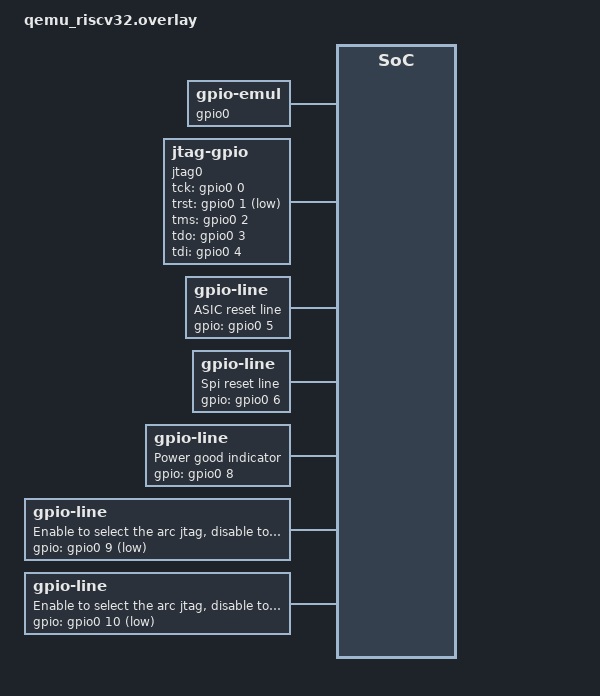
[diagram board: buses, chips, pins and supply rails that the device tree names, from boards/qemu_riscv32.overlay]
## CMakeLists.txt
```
# SPDX-License-Identifier: Apache-2.0

cmake_minimum_required(VERSION 3.20.0)
find_package(Zephyr REQUIRED HINTS $ENV{ZEPHYR_BASE})
project(bmc)

FILE(GLOB app_sources src/*.c)
target_sources(app PRIVATE ${app_sources})
```

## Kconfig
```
# Copyright (c) 2024 Tenstorrent AI ULC
# SPDX-License-Identifier: Apache-2.0

source "Kconfig.zephyr"

menu "Tenstorrent BMC Main App"

config TT_ASSEMBLY_TEST
	bool "Output additional debug if we are running in a test environment"
	default n

module = TT_MAIN
module-str = "Tenstorrent BMC main app"
source "${ZEPHYR_BASE}/subsys/logging/Kconfig.template.log_config"

endmenu
```

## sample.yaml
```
sample:
  name: JTAG
tests:
  sample.app:
    sysbuild: true
    platform_allow:
      - tt_blackhole@p100/tt_blackhole/bmc
      - tt_blackhole@p100a/tt_blackhole/bmc
      - tt_blackhole@p150a/tt_blackhole/bmc
      - p300/tt_blackhole/bmc
    tags: e2e
    harness: console
    harness_config:
      type: one_line
      regex:
        - "BMFW VERSION (.*)"
```

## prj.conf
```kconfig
CONFIG_JTAG=y
CONFIG_TT_BH_CHIP=y
CONFIG_TT_JTAG_BOOTROM=y
CONFIG_JTAG_LOAD_ON_PRESET=y
CONFIG_GPIO=y

CONFIG_COMMON_LIBC_MALLOC=n

# create build/zephyr/zephyr.lst
CONFIG_OUTPUT_DISASSEMBLY=y

CONFIG_I2C=y
CONFIG_SMBUS=y
CONFIG_TT_I2C_DRIVER=y
CONFIG_TT_SMBUS_DRIVER=y
CONFIG_TT_I2C_STM32_INTERRUPT=n
CONFIG_TT_I2C_STM32_BYTE_POLL=y
CONFIG_SMBUS_INIT_PRIORITY=60

CONFIG_JTAG_LOAD_BOOTROM=y

# For firmware udpates
CONFIG_TT_BIST=y
CONFIG_IMG_MANAGER=y
CONFIG_FLASH=y
CONFIG_FLASH_MAP=y
CONFIG_STREAM_FLASH=y
CONFIG_REBOOT=y

# We always expect MCUBoot to be the primary bootloader
CONFIG_BOOTLOADER_MCUBOOT=y
CONFIG_MCUBOOT_SIGNATURE_KEY_FILE="bootloader/mcuboot/root-rsa-2048.pem"

# Disable printing the default Zephyr boot banner
CONFIG_BOOT_BANNER=n
# Print the Tenstorrent boot banner + git version on startup
CONFIG_TT_BOOT_BANNER=y
CONFIG_TT_BOOT_BANNER_GIT_VERSION=y
CONFIG_TT_BOOT_BANNER_SDK_VERSION=y

# Raise RTT buffer size, so entire boot log is captured even if RTT isn't
# attached
CONFIG_SEGGER_RTT_BUFFER_SIZE_UP=2048

# k_event APIs
CONFIG_EVENTS=y
CONFIG_TT_EVENT=y
```

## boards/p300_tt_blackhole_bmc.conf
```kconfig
CONFIG_JTAG_USE_MMAPPED_IO=y

# Enable Clocks
CONFIG_CLOCK_CONTROL=y

# enable pin controller
CONFIG_PINCTRL=y

# enable external spi flash
CONFIG_SPI=y
CONFIG_SPI_STM32_INTERRUPT=y

# enable sensor
CONFIG_SENSOR=y

# enable fan control
CONFIG_TT_FAN_CTRL=y

# To debug firmware updates
#CONFIG_LOG=y
#CONFIG_LOG_PRINTK=y
#CONFIG_LOG_MODE_IMMEDIATE=y
#CONFIG_TT_APP_LOG_LEVEL_DBG=y
# Debug logging might consume more stack than usual
#CONFIG_MAIN_STACK_SIZE=10240
#CONFIG_SEGGER_RTT_BUFFER_SIZE_UP=4096
# Never block whey trying to write logs
#CONFIG_LOG_BACKEND_RTT_MODE_OVERWRITE=y
```

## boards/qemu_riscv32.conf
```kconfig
CONFIG_JTAG_DEVICE_VENDOR="Qemu"
CONFIG_JTAG_DEVICE_NAME="qemu-jtag"

CONFIG_PINCTRL=n
CONFIG_JTAG_USE_MMAPPED_IO=n
CONFIG_JTAG_VERIFY_WRITE=y
# CONFIG_JTAG_PROFILE_FUNCTIONS=n

CONFIG_LOG=y
CONFIG_LOG_MODE_MINIMAL=y

CONFIG_MAIN_STACK_SIZE=8192
CONFIG_SYSTEM_WORKQUEUE_STACK_SIZE=8192
```

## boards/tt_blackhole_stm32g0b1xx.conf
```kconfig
CONFIG_JTAG_DEVICE_VENDOR="ST Microelectronics"
CONFIG_JTAG_DEVICE_NAME="scrappy_g0x"
CONFIG_JTAG_USE_MMAPPED_IO=y

# Enable Clocks
CONFIG_CLOCK_CONTROL=y

# enable pin controller
CONFIG_PINCTRL=y

# enable external spi flash
CONFIG_SPI=y
CONFIG_SPI_STM32_INTERRUPT=y

# To debug firmware updates
#CONFIG_LOG=y
#CONFIG_LOG_PRINTK=y
#CONFIG_LOG_MODE_IMMEDIATE=y
#CONFIG_TT_FWUPDATE_LOG_LEVEL_DBG=y
#CONFIG_TT_MAIN_LOG_LEVEL_DBG=y
# Debug logging might consume more stack than usual
#CONFIG_MAIN_STACK_SIZE=10240
#CONFIG_SEGGER_RTT_BUFFER_SIZE_UP=4096
# Never block whey trying to write logs
#CONFIG_LOG_BACKEND_RTT_MODE_OVERWRITE=y
```

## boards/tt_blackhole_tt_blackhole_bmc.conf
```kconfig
CONFIG_JTAG_USE_MMAPPED_IO=y

# Enable Clocks
CONFIG_CLOCK_CONTROL=y

# enable pin controller
CONFIG_PINCTRL=y

# enable external spi flash
CONFIG_SPI=y
CONFIG_SPI_STM32_INTERRUPT=y

# enable crc
CONFIG_CRC=y

# To debug firmware updates
#CONFIG_LOG=y
#CONFIG_LOG_PRINTK=y
#CONFIG_LOG_MODE_IMMEDIATE=y
#CONFIG_TT_FWUPDATE_LOG_LEVEL_DBG=y
#CONFIG_TT_APP_LOG_LEVEL_DBG=y
# Debug logging might consume more stack than usual
#CONFIG_MAIN_STACK_SIZE=10240
#CONFIG_SEGGER_RTT_BUFFER_SIZE_UP=4096
# Never block whey trying to write logs
#CONFIG_LOG_BACKEND_RTT_MODE_OVERWRITE=y
```

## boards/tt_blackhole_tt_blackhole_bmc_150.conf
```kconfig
CONFIG_JTAG_DEVICE_VENDOR="Tenstorrent"
CONFIG_JTAG_DEVICE_NAME="Blackhole"
CONFIG_JTAG_USE_MMAPPED_IO=y

# enable console
CONFIG_CONSOLE=y
CONFIG_USE_SEGGER_RTT=y
CONFIG_RTT_CONSOLE=y

# Enable Clocks
CONFIG_CLOCK_CONTROL=y

# enable pin controller
CONFIG_PINCTRL=y

CONFIG_COMMON_LIBC_MALLOC=n
# stm32 spi driver requires semaphores / multithreading
CONFIG_MULTITHREADING=y

# create build/zephyr/zephyr.lst
CONFIG_OUTPUT_DISASSEMBLY=y

# enable external spi flash
CONFIG_SPI=y
CONFIG_SPI_STM32_INTERRUPT=y
CONFIG_FLASH=y

# For firmware udpates
CONFIG_TT_FWUPDATE=y
CONFIG_TT_BOOT_FS=y
CONFIG_CRC=y
CONFIG_IMG_MANAGER=y
CONFIG_FLASH_MAP=y
CONFIG_STREAM_FLASH=y
CONFIG_REBOOT=y

# To debug firmware updates
#CONFIG_LOG=y
#CONFIG_LOG_PRINTK=y
#CONFIG_LOG_MODE_IMMEDIATE=y
#CONFIG_TT_FWUPDATE_LOG_LEVEL_DBG=y
#CONFIG_TT_MAIN_LOG_LEVEL_DBG=y
# Debug logging might consume more stack than usual
#CONFIG_MAIN_STACK_SIZE=10240
# Never block whey trying to write logs
#CONFIG_LOG_BACKEND_RTT_MODE_OVERWRITE=y
# Optionally, turn off the RTT log backend and use the Shell log backend?
#CONFIG_LOG_BACKEND_RTT=n

# For interactive shell
#CONFIG_SHELL=y
#CONFIG_FLASH_SHELL=y
#CONFIG_MCUBOOT_SHELL=y
```

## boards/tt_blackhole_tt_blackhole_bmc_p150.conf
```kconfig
# Enable fan control
CONFIG_TT_FAN_CTRL=y
```

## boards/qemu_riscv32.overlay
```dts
/*
 * Copyright (c) 2024 Tenstorrent AI ULC
 *
 * SPDX-License-Identifier: Apache-2.0
 */

#include <zephyr/dt-bindings/gpio/gpio.h>

/ {
	gpio0: gpio-emul {
		status = "okay";
		compatible = "zephyr,gpio-emul";
		rising-edge;
		falling-edge;
		high-level;
		low-level;
		gpio-controller;
		#gpio-cells = <2>;
	};

	jtag0: jtag {
		compatible = "zephyr,jtag-gpio";
		status = "okay";
		tck-gpios = <&gpio0 0 GPIO_ACTIVE_HIGH>;
		trst-gpios = <&gpio0 1 GPIO_ACTIVE_LOW>;
		tms-gpios = <&gpio0 2 GPIO_ACTIVE_HIGH>;
		tdo-gpios = <&gpio0 3 GPIO_PULL_UP>;
		tdi-gpios = <&gpio0 4 GPIO_ACTIVE_HIGH>;
		port-write-cycles = <2>;
	};

	mcureset {
	       compatible = "zephyr,gpio-line";
	       label = "ASIC reset line";
	       gpios = <&gpio0 5 GPIO_PULL_DOWN>;
	};

	spireset {
	       compatible = "zephyr,gpio-line";
	       label = "Spi reset line";
	       gpios = <&gpio0 6 GPIO_PULL_DOWN>;
	};

	pgood {
	       compatible = "zephyr,gpio-line";
	       label = "Power good indicator";
	       gpios = <&gpio0 8 GPIO_PULL_DOWN>;
	};

	arc_rambus_jtag_mux_sel: arc_rambus_jtag_mux_enable {
	       label = "Enable to select the arc jtag, disable to select rambus";
	       compatible = "zephyr,gpio-line";
	       gpios = <&gpio0 9 GPIO_ACTIVE_LOW>;
	};

	arc_l2_jtag_mux_sel: arc_l2_jtag_mux_enable {
	       label = "Enable to select the arc jtag, disable to select l2cpu";
	       compatible = "zephyr,gpio-line";
	       gpios = <&gpio0 10 GPIO_ACTIVE_LOW>;
	};
};
```

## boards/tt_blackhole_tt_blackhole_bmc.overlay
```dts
/*
 * Copyright (c) 2024 Tenstorrent AI ULC
 *
 * SPDX-License-Identifier: Apache-2.0
 */

&jtag0 {
	status = "okay";
};
```

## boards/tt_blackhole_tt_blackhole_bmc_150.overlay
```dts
/*
 * Copyright (c) 2024 Tenstorrent AI ULC
 *
 * SPDX-License-Identifier: Apache-2.0
 */

/ {
	aliases {
#if 0
		/* potentially for later consideration */
		mcuboot-button0 = &button1;
		mcuboot-led0 = &blue_led;
#endif
	};

	jtag0 {
		compatible = "zephyr,jtag-gpio";
		status = "okay";
		tck-gpios = <&gpiob 10 GPIO_ACTIVE_HIGH>;
		tdi-gpios = <&gpiob 15 GPIO_ACTIVE_HIGH>;
		tdo-gpios = <&gpiob 1 GPIO_PULL_UP>;
		tms-gpios = <&gpiob 2 GPIO_ACTIVE_HIGH>;
		port-write-cycles = <2>;
	};

};

&spi1 {
	flash1: flash@0 {
		/* base properties */
		compatible = "micron,mt25qu512", "jedec,spi-nor";

		jedec-id = [20 bb 20];
	};
};

&flash0 {
	partitions {
		slot0_partition: partition@c000 {
			label = "image-0";
			reg = <0x0000c000 (DT_SIZE_K(230) + DT_SIZE_K(2))>;
		};

		slot1_partition: partition@46000 {
			label = "image-1";
			reg = <0x00046000 (DT_SIZE_K(230))>;
		};
	};
};
```

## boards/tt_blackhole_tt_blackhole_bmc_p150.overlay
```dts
/*
 * Copyright (c) 2024 Tenstorrent AI ULC
 *
 * SPDX-License-Identifier: Apache-2.0
 */

/ {
	jtag0 {
		compatible = "zephyr,jtag-gpio";
		status = "okay";
		tck-gpios = <&gpiob 10 GPIO_ACTIVE_HIGH>;
		tdi-gpios = <&gpiob 15 GPIO_ACTIVE_HIGH>;
		tdo-gpios = <&gpiob 1 GPIO_PULL_UP>;
		tms-gpios = <&gpiob 2 GPIO_ACTIVE_HIGH>;
		port-write-cycles = <2>;
	};
};

&spi1 {
	flash1: flash@0 {
		/* base properties */
		compatible = "micron,mt25qu512", "jedec,spi-nor";

		jedec-id = [20 bb 20];
	};
};

&flash0 {
	partitions {
		slot0_partition: partition@c000 {
			label = "image-0";
			reg = <0x0000c000 (DT_SIZE_K(230) + DT_SIZE_K(2))>;
		};

		slot1_partition: partition@46000 {
			label = "image-1";
			reg = <0x00046000 (DT_SIZE_K(230))>;
		};
	};
};
```

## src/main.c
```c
/*
 * Copyright (c) 2024 Tenstorrent AI ULC
 *
 * SPDX-License-Identifier: Apache-2.0
 */

#include <stdbool.h>
#include <stdlib.h>

#include <app_version.h>
#include <tenstorrent/bist.h>
#include <tenstorrent/fan_ctrl.h>
#include <tenstorrent/fwupdate.h>
#include <zephyr/devicetree.h>
#include <zephyr/drivers/gpio.h>
#include <zephyr/drivers/i2c.h>
#include <zephyr/drivers/sensor.h>
#include <zephyr/drivers/smbus.h>
#include <zephyr/kernel.h>
#include <zephyr/init.h>
#include <zephyr/logging/log.h>
#include <zephyr/sys/reboot.h>

#include <tenstorrent/tt_smbus.h>
#include <tenstorrent/bh_chip.h>
#include <tenstorrent/bh_arc.h>
#include <tenstorrent/event.h>
#include <tenstorrent/jtag_bootrom.h>

LOG_MODULE_REGISTER(main, CONFIG_TT_APP_LOG_LEVEL);

struct bh_chip BH_CHIPS[BH_CHIP_COUNT] = {DT_FOREACH_PROP_ELEM(DT_PATH(chips), chips, INIT_CHIP)};

#if BH_CHIP_PRIMARY_INDEX >= BH_CHIP_COUNT
#error "Primary chip out of range"
#endif

static const struct gpio_dt_spec board_fault_led =
	GPIO_DT_SPEC_GET_OR(DT_PATH(board_fault_led), gpios, {0});
static const struct device *const ina228 = DEVICE_DT_GET_OR_NULL(DT_NODELABEL(ina228));

int update_fw(void)
{
	/* To get here we are already running known good fw */
	int ret;

	const struct gpio_dt_spec reset_spi = BH_CHIPS[BH_CHIP_PRIMARY_INDEX].config.spi_reset;

	ret = gpio_pin_configure_dt(&reset_spi, GPIO_OUTPUT_ACTIVE);
	if (ret < 0) {
		LOG_ERR("%s() failed (could not configure the spi_reset pin): %d",
			"gpio_pin_configure_dt", ret);
		return 0;
	}

	gpio_pin_set_dt(&reset_spi, 1);
	k_busy_wait(1000);
	gpio_pin_set_dt(&reset_spi, 0);

	if (IS_ENABLED(CONFIG_TT_FWUPDATE)) {
		/* Check for and apply a new update, if one exists (we disable reboot here) */
		ret = tt_fwupdate("bmfw", false, false);
		if (ret < 0) {
			LOG_ERR("%s() failed: %d", "tt_fwupdate", ret);
			/*
			 * This might be as simple as no update being found, but it could be due to
			 * something else - e.g. I/O error, failure to read from external spi,
			 * failure to write to internal flash, image corruption / crc failure, etc.
			 */
			return 0;
		}

		if (ret == 0) {
			LOG_DBG("No firmware update required");
		} else {
			LOG_INF("Reboot needed in order to apply bmfw update");
			if (IS_ENABLED(CONFIG_REBOOT)) {
				sys_reboot(SYS_REBOOT_COLD);
			}
		}
	} else {
		ret = 0;
	}

	return ret;
}

void process_cm2bm_message(struct bh_chip *chip)
{
	cm2bmMessageRet msg = bh_chip_get_cm2bm_message(chip);

	if (msg.ret == 0) {
		cm2bmMessage message = msg.msg;

		switch (message.msg_id) {
		case 0x1:
			switch (message.data) {
			case 0x0:
				jtag_bootrom_reset_sequence(chip, true);
				break;
			case 0x3:
				/* Trigger reboot; will reset asic and reload bmfw
				 */
				if (IS_ENABLED(CONFIG_REBOOT)) {
					sys_reboot(SYS_REBOOT_COLD);
				}
				break;
			}
			break;
		case 0x2:
			/* Respond to ping request from CMFW */
			bharc_smbus_word_data_write(&chip->config.arc, 0x21, 0xA5A5);
			break;
		case 0x3:
			if (IS_ENABLED(CONFIG_TT_FAN_CTRL)) {
				set_fan_speed((uint8_t)message.data & 0xFF);
			}
			break;
		}
	}
}

void ina228_current_update(void)
{
	struct sensor_value current_sensor_val;

	sensor_sample_fetch_chan(ina228, SENSOR_CHAN_CURRENT);
	sensor_channel_get(ina228, SENSOR_CHAN_CURRENT, &current_sensor_val);

	int32_t current =
		(current_sensor_val.val1 << 16) + (current_sensor_val.val2 * 65536ULL) / 1000000ULL;

	ARRAY_FOR_EACH_PTR(BH_CHIPS, chip) {
		bh_chip_set_input_current(chip, &current);
	}
}

uint16_t detect_max_pwr(void)
{
	static const struct gpio_dt_spec psu_sense0 =
		GPIO_DT_SPEC_GET_OR(DT_PATH(psu_sense0), gpios, {0});
	static const struct gpio_dt_spec psu_sense1 =
		GPIO_DT_SPEC_GET_OR(DT_PATH(psu_sense1), gpios, {0});
	static const struct gpio_dt_spec board_id0 =
		GPIO_DT_SPEC_GET_OR(DT_PATH(board_id0), gpios, {0});

	gpio_pin_configure_dt(&psu_sense0, GPIO_INPUT);
	gpio_pin_configure_dt(&psu_sense1, GPIO_INPUT);
	gpio_pin_configure_dt(&board_id0, GPIO_INPUT);

	int sense0_val = gpio_pin_get_dt(&psu_sense0);
	int sense1_val = gpio_pin_get_dt(&psu_sense1);
	int board_id0_val = gpio_pin_get_dt(&board_id0);

	uint16_t board_pwr;
	uint16_t psu_pwr;

	if (board_id0_val) {
		board_pwr = 450;
	} else {
		board_pwr = 300;
	}

	if (!sense0_val && !sense1_val) {
		psu_pwr = 600;
	} else if (sense0_val && !sense1_val) {
		psu_pwr = 450;
	} else if (!sense0_val && sense1_val) {
		psu_pwr = 300;
	} else {
		/* Pins could either be open or shorted together */
		/* Pull down one and check the other */
		gpio_pin_configure_dt(&psu_sense0, GPIO_OUTPUT_LOW);
		if (!gpio_pin_get_dt(&psu_sense1)) {
			/* If shorted together then max power is 150W */
			psu_pwr = 150;
		} else {
			psu_pwr = 0;
		}
		gpio_pin_configure_dt(&psu_sense0, GPIO_INPUT);
	}

	return MIN(board_pwr, psu_pwr);
}

int main(void)
{
	int ret;
	int bist_rc;

	if (IS_ENABLED(CONFIG_TT_FWUPDATE)) {
		/* Only try to update from the primary chip spi */
		ret = tt_fwupdate_init(BH_CHIPS[BH_CHIP_PRIMARY_INDEX].config.flash,
				       BH_CHIPS[BH_CHIP_PRIMARY_INDEX].config.spi_mux);
		if (ret != 0) {
			return ret;
		}
	}

	ARRAY_FOR_EACH_PTR(BH_CHIPS, chip) {
		if (chip->config.arc.smbus.bus == NULL) {
			continue;
		}

		tt_smbus_stm32_set_abort_ptr(chip->config.arc.smbus.bus,
					     &((&chip->data)->bus_cancel_flag));
	}

	bist_rc = 0;
	if (IS_ENABLED(CONFIG_TT_BIST)) {
		bist_rc = tt_bist();
		if (bist_rc < 0) {
			LOG_ERR("%s() failed: %d", "tt_bist", bist_rc);
		} else {
			LOG_DBG("Built-in self-test succeeded");
		}
	}

	if (IS_ENABLED(CONFIG_TT_FAN_CTRL)) {
		ret = init_fan();
		set_fan_speed(100); /* Set fan speed to 100 by default */
		if (ret != 0) {
			LOG_ERR("%s() failed: %d", "init_fan", ret);
			return ret;
		}
	}

	if (IS_ENABLED(CONFIG_TT_FWUPDATE)) {
		if (!tt_fwupdate_is_confirmed()) {
			if (bist_rc < 0) {
				LOG_ERR("Firmware update was unsuccessful and will be rolled-back "
					"after bmfw reboot.");
				if (IS_ENABLED(CONFIG_REBOOT)) {
					sys_reboot(SYS_REBOOT_COLD);
				}
				return EXIT_FAILURE;
			}

			ret = tt_fwupdate_confirm();
			if (ret < 0) {
				LOG_ERR("%s() failed: %d", "tt_fwupdate_confirm", ret);
				return EXIT_FAILURE;
			}
		}
	}

	ret = update_fw();
	if (ret != 0) {
		return ret;
	}

	if (IS_ENABLED(CONFIG_TT_FWUPDATE)) {
		ret = tt_fwupdate_complete();
		if (ret != 0) {
			return ret;
		}
	}

	/* Force all spi_muxes back to arc control */
	ARRAY_FOR_EACH_PTR(BH_CHIPS, chip) {
		if (chip->config.spi_mux.port != NULL) {
			gpio_pin_configure_dt(&chip->config.spi_mux, GPIO_OUTPUT_ACTIVE);
		}
	}

	/* Set up GPIOs */
	if (board_fault_led.port != NULL) {
		gpio_pin_configure_dt(&board_fault_led, GPIO_OUTPUT_INACTIVE);
	}

	ARRAY_FOR_EACH_PTR(BH_CHIPS, chip) {
		ret = therm_trip_gpio_setup(chip);
		if (ret != 0) {
			LOG_ERR("%s() failed: %d", "therm_trip_gpio_setup", ret);
			return ret;
		}
		ret = pgood_gpio_setup(chip);
		if (ret != 0) {
			LOG_ERR("%s() failed: %d", "pgood_gpio_setup", ret);
			return ret;
		}
	}

	if (IS_ENABLED(CONFIG_JTAG_LOAD_BOOTROM)) {
		ARRAY_FOR_EACH_PTR(BH_CHIPS, chip) {
			ret = jtag_bootrom_init(chip);
			if (ret != 0) {
				LOG_ERR("%s() failed: %d", "jtag_bootrom_init", ret);
				return ret;
			}

			ret = jtag_bootrom_reset_sequence(chip, false);
			if (ret != 0) {
				LOG_ERR("%s() failed: %d", "jtag_bootrom_reset", ret);
				return ret;
			}
		}

		LOG_DBG("Bootrom workaround successfully applied");
	}

	printk("BMFW VERSION " APP_VERSION_STRING "\n");

	if (IS_ENABLED(CONFIG_TT_ASSEMBLY_TEST) && board_fault_led.port != NULL) {
		gpio_pin_set_dt(&board_fault_led, 1);
	}

	/* No mechanism for getting bl version... yet */
	bmStaticInfo static_info =
		(bmStaticInfo){.version = 1, .bl_version = 0, .app_version = APPVERSION};

	uint16_t max_pwr = detect_max_pwr();

	while (true) {
		tt_event_wait(TT_EVENT_WAKE, K_MSEC(20));

		/* handler for therm trip */
		ARRAY_FOR_EACH_PTR(BH_CHIPS, chip) {
			if (chip->data.therm_trip_triggered) {
				chip->data.therm_trip_triggered = false;

				if (board_fault_led.port != NULL) {
					gpio_pin_set_dt(&board_fault_led, 1);
				}

				if (IS_ENABLED(CONFIG_TT_FAN_CTRL)) {
					set_fan_speed(100);
				}
				bh_chip_reset_chip(chip, true);
				bh_chip_cancel_bus_transfer_clear(chip);
			}
		}

		/* handler for PERST */
		ARRAY_FOR_EACH_PTR(BH_CHIPS, chip) {
			if (chip->data.trigger_reset) {
				chip->data.trigger_reset = false;
				if (chip->data.workaround_applied) {
					jtag_bootrom_reset_asic(chip);
					jtag_bootrom_soft_reset_arc(chip);
					jtag_bootrom_teardown(chip);
					chip->data.needs_reset = false;
				} else {
					chip->data.needs_reset = true;
				}
				bh_chip_cancel_bus_transfer_clear(chip);
			}
		}

		/* handler for PGOOD */
		ARRAY_FOR_EACH_PTR(BH_CHIPS, chip) {
			if (chip->data.pgood_fall_triggered && !chip->data.pgood_severe_fault) {
				int64_t current_uptime_ms = k_uptime_get();
				/* Assert board fault */
				gpio_pin_set_dt(&board_fault_led, 1);
				/* Report over SMBus - to add later */
				/* Assert ASIC reset */
				bh_chip_assert_asic_reset(chip);
				/* If pgood went down again within 1 second */
				if (current_uptime_ms - chip->data.pgood_last_trip_ms < 1000) {
					/* Assert more severe fault over IPMI - to add later */
					chip->data.pgood_severe_fault = true;
				}
				chip->data.pgood_last_trip_ms = current_uptime_ms;
				chip->data.pgood_fall_triggered = false;
			}
			if (chip->data.pgood_rise_triggered && !chip->data.pgood_severe_fault) {
				/* Follow out of reset procedure */
				bh_chip_reset_chip(chip, true);
				/* Clear board fault */
				gpio_pin_set_dt(&board_fault_led, 0);
				chip->data.pgood_rise_triggered = false;
			}
		}

		/* TODO(drosen): Turn this into a task which will re-arm until static data is sent
		 */
		ARRAY_FOR_EACH_PTR(BH_CHIPS, chip) {
			if (chip->data.arc_just_reset) {
				if (bh_chip_set_static_info(chip, &static_info) == 0) {
					chip->data.arc_just_reset = false;
				}
				bh_chip_set_board_pwr_lim(chip, max_pwr);
			}
		}

		if (IS_ENABLED(CONFIG_INA228)) {
			ina228_current_update();
		}

		if (IS_ENABLED(CONFIG_TT_FAN_CTRL)) {
			uint16_t rpm = get_fan_rpm();

			ARRAY_FOR_EACH_PTR(BH_CHIPS, chip) {
				bh_chip_set_fan_rpm(chip, rpm);
			}
		}

		ARRAY_FOR_EACH_PTR(BH_CHIPS, chip) {
			process_cm2bm_message(chip);
		}

		/*
		 * Really only matters if running without security... but
		 * cm should register that it is on the pcie bus and therefore can be an update
		 * candidate. If chips that are on the bus see that an update has been requested
		 * they can update?
		 */
	}

	return EXIT_SUCCESS;
}
```
